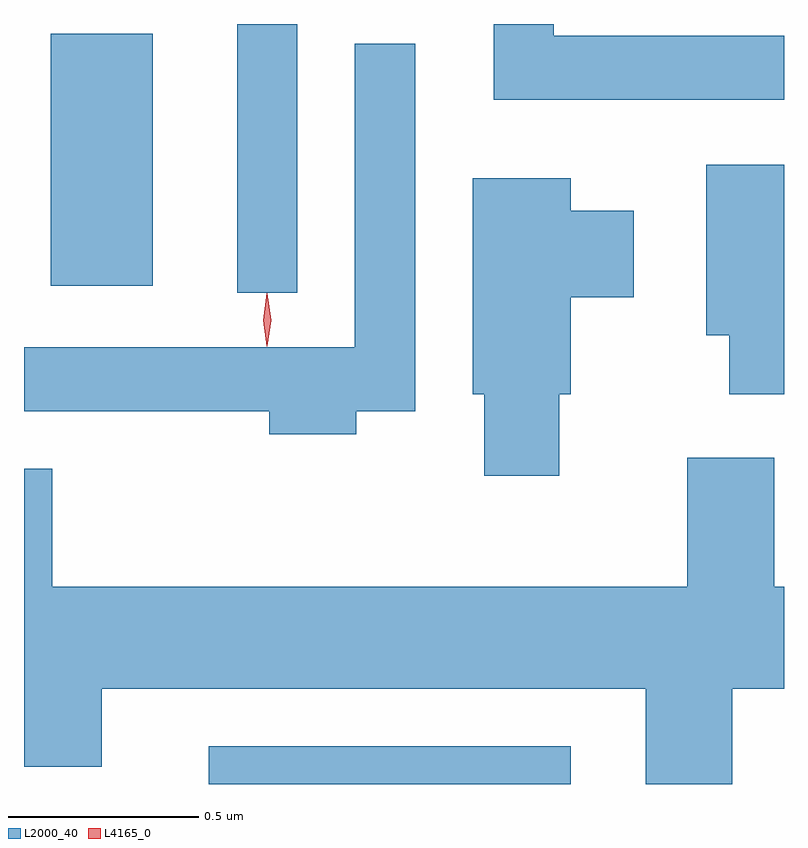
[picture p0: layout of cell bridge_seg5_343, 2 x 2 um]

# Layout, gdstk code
import gdstk
lib = gdstk.Library(unit=1e-6, precision=1e-09)
def R(c, l, rs):  # rectangles x0, y0, x1, y1
    for r in rs: c.add(gdstk.rectangle(r[:2], r[2:], *l))
def P(c, l, *ps):  # polygons
    for p in ps: c.add(gdstk.Polygon(p, *l))
L2000_40 = (2000, 40)
L4165_0 = (4165, 0)

bridge_seg5_343 = lib.new_cell('bridge_seg5_343')
R(bridge_seg5_343, L2000_40, [(658.941,1516.485,659.894,1516.584), (659.016,1517.778,659.174,1518.485), (658.526,1517.796,658.794,1518.459)])
P(bridge_seg5_343, L2000_40, [(660.455,1518.454),(659.849,1518.454),(659.849,1518.485),(659.691,1518.485),(659.691,1518.286),(660.455,1518.286)],
  [(659.329,1517.466),(659.484,1517.466),(659.484,1518.433),(659.326,1518.433),(659.326,1517.634),(658.455,1517.634),(658.455,1517.466),(659.101,1517.466),(659.101,1517.406),(659.329,1517.406)],
  [(660.455,1518.114),(660.251,1518.114),(660.251,1517.666),(660.311,1517.666),(660.311,1517.511),(660.455,1517.511)],
  [(659.864,1517.511),(659.894,1517.511),(659.894,1517.766),(660.059,1517.766),(660.059,1517.994),(659.894,1517.994),(659.894,1518.079),(659.636,1518.079),(659.636,1517.511),(659.666,1517.511),(659.666,1517.296),(659.864,1517.296)],
  [(660.319,1516.736),(660.455,1516.736),(660.455,1517.004),(660.429,1517.004),(660.429,1517.344),(660.201,1517.344),(660.201,1517.004),(658.529,1517.004),(658.529,1517.314),(658.455,1517.314),(658.455,1516.531),(658.659,1516.531),(658.659,1516.736),(660.091,1516.736),(660.091,1516.485),(660.319,1516.485)])
P(bridge_seg5_343, L4165_0, [(659.094,1517.637),(659.085,1517.706),(659.094,1517.776),(659.095,1517.776),(659.095,1517.776),(659.105,1517.706),(659.095,1517.637),(659.095,1517.637)],
  [(659.095,1517.639),(659.094,1517.64),(659.085,1517.706),(659.094,1517.772),(659.095,1517.773),(659.095,1517.772),(659.105,1517.706),(659.095,1517.64)])

lib.write_gds('bridge_seg5_343.gds')
